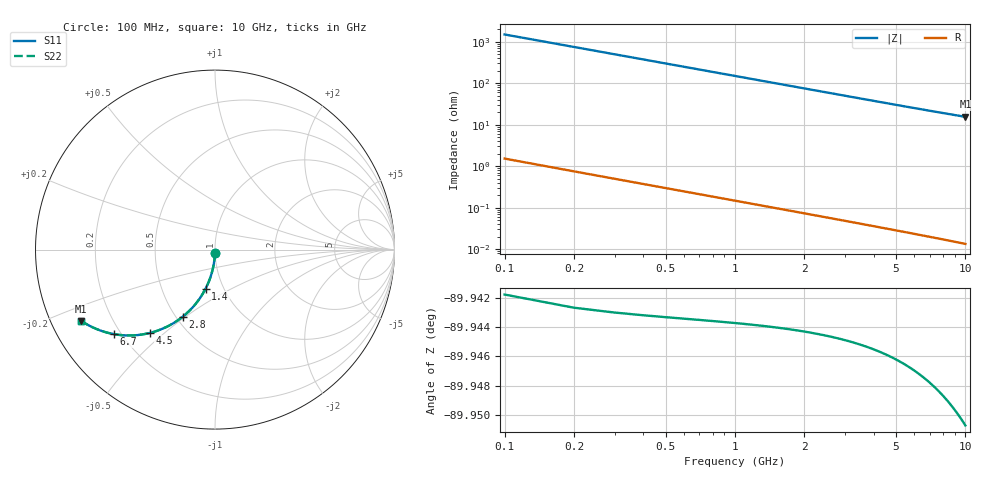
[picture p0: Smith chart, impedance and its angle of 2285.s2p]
# Hz S RI R 50.00
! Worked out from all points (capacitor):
!   100 points, 100 MHz to 10 GHz, reference 50 ohm
!   read as one part in shunt: C = 1.06 pF near 100 MHz
!   lowest |Z| = 15.5 ohm at 10 GHz (marker M1)
!   S11 on the Smith chart (normalised r, x): 100 MHz: 1.00, -0.03; 1.4 GHz: 0.82, -0.38; 2.8 GHz: 0.54, -0.49; 4.5 GHz: 0.31, -0.45; 6.7 GHz: 0.17, -0.35; 10 GHz: 0.09, -0.25
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1e8  -0.000229 -0.0163  0.9996 -0.017  0.9996 -0.017  -0.000229 -0.0163
2e8  -0.00108 -0.0326  0.9988 -0.0341  0.9988 -0.0341  -0.00108 -0.0326
3e8  -0.00248 -0.0489  0.9974 -0.051  0.9974 -0.051  -0.00248 -0.0489
4e8  -0.00444 -0.0651  0.9954 -0.0679  0.9954 -0.0679  -0.00444 -0.0651
5e8  -0.00693 -0.0811  0.9929 -0.0847  0.9929 -0.0847  -0.00693 -0.0811
6e8  -0.00996 -0.097  0.9899 -0.1013  0.9899 -0.1013  -0.00996 -0.097
7e8  -0.0135 -0.1128  0.9863 -0.1178  0.9863 -0.1178  -0.0135 -0.1128
9e8  -0.0222 -0.1438  0.9777 -0.1501  0.9777 -0.1501  -0.0222 -0.1438
1.1e9  -0.0328 -0.1738  0.9671 -0.1816  0.9671 -0.1816  -0.0328 -0.1738
1.4e9  -0.052 -0.2168  0.9478 -0.2267  0.9478 -0.2267  -0.052 -0.2168
1.8e9  -0.0832 -0.2695  0.9166 -0.2823  0.9166 -0.2823  -0.0832 -0.2695
2.3e9  -0.1292 -0.3269  0.8705 -0.3433  0.8705 -0.3433  -0.1292 -0.3269
2.8e9  -0.1805 -0.3743  0.8191 -0.3943  0.8191 -0.3943  -0.1805 -0.3743
3.4e9  -0.2456 -0.4179  0.7539 -0.4423  0.7539 -0.4423  -0.2456 -0.4179
3.9e9  -0.3004 -0.444  0.6991 -0.4721  0.6991 -0.4721  -0.3004 -0.444
4.5e9  -0.3644 -0.4646  0.6349 -0.4971  0.6349 -0.4971  -0.3644 -0.4646
5.1e9  -0.4248 -0.4754  0.5744 -0.5123  0.5744 -0.5123  -0.4248 -0.4754
5.8e9  -0.4895 -0.4783  0.5095 -0.5205  0.5095 -0.5205  -0.4895 -0.4783
6.7e9  -0.5625 -0.471  0.4361 -0.52  0.4361 -0.52  -0.5625 -0.471
7.5e9  -0.6182 -0.4575  0.3801 -0.5127  0.3801 -0.5127  -0.6182 -0.4575
8.4e9  -0.6713 -0.4377  0.3266 -0.5  0.3266 -0.5  -0.6713 -0.4377
1e10  -0.7451 -0.3969  0.2519 -0.4719  0.2519 -0.4719  -0.7451 -0.3969
